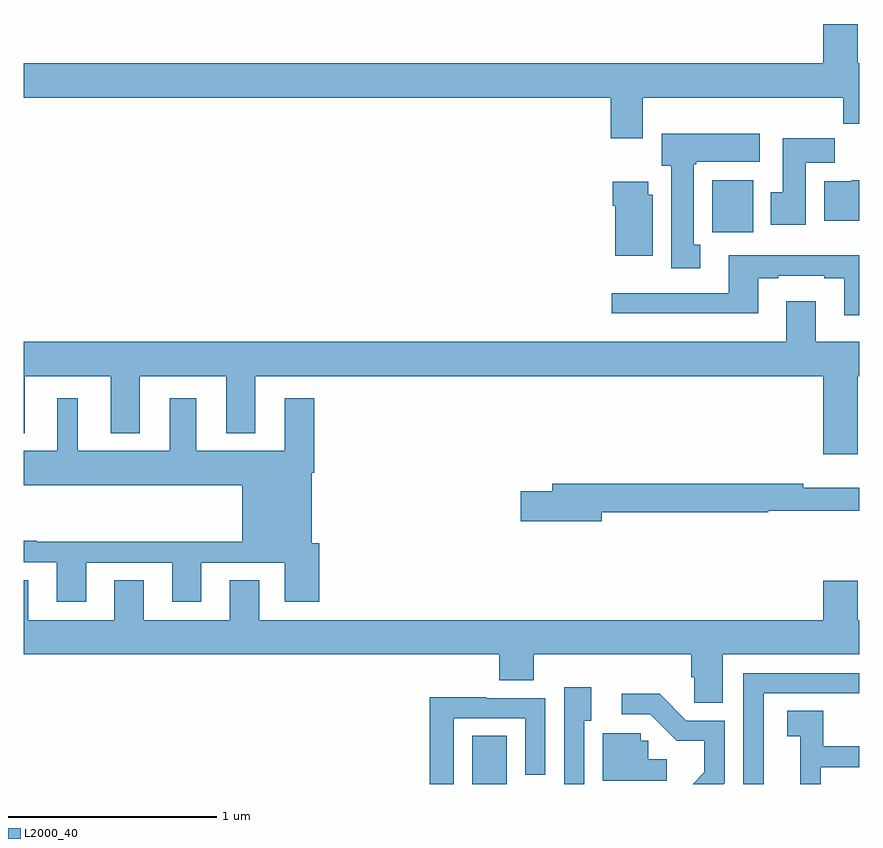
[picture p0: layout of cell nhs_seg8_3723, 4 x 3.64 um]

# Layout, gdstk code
import gdstk
lib = gdstk.Library(unit=1e-6, precision=1e-09)
def R(c, l, rs):  # rectangles x0, y0, x1, y1
    for r in rs: c.add(gdstk.rectangle(r[:2], r[2:], *l))
def P(c, l, *ps):  # polygons
    for p in ps: c.add(gdstk.Polygon(p, *l))
L2000_40 = (2000, 40)

nhs_seg8_3723 = lib.new_cell('nhs_seg8_3723')
R(nhs_seg8_3723, L2000_40, [(343.148,1095.9,343.312,1096.13), (344.295,1098.54,344.491,1098.79)])
P(nhs_seg8_3723, L2000_40, [(344.828,1099.537),(344.828,1099.348),(341,1099.348),(341,1099.184),(343.811,1099.184),(343.811,1098.99),(343.963,1098.99),(343.963,1099.184),(344.923,1099.184),(344.923,1099.06),(345,1099.06),(345,1099.348),(344.992,1099.348),(344.992,1099.537)],
  [(344.239,1098.481),(344.206,1098.481),(344.206,1098.865),(344.22,1098.865),(344.22,1098.878),(344.524,1098.878),(344.524,1099.012),(344.054,1099.012),(344.054,1098.858),(344.099,1098.858),(344.099,1098.369),(344.239,1098.369)],
  [(344.743,1098.872),(344.882,1098.872),(344.882,1098.991),(344.633,1098.991),(344.633,1098.732),(344.576,1098.732),(344.576,1098.576),(344.743,1098.576)],
  [(345,1098.79),(344.964,1098.79),(344.964,1098.784),(344.831,1098.784),(344.831,1098.596),(345,1098.596)],
  [(344.011,1098.72),(343.99,1098.72),(343.99,1098.781),(343.82,1098.781),(343.82,1098.668),(343.832,1098.668),(343.832,1098.428),(344.011,1098.428)],
  [(345,1098.43),(344.375,1098.43),(344.375,1098.249),(343.815,1098.249),(343.815,1098.152),(344.515,1098.152),(344.515,1098.321),(344.611,1098.321),(344.611,1098.333),(344.831,1098.333),(344.831,1098.321),(344.927,1098.321),(344.927,1098.144),(345,1098.144)],
  [(344.992,1097.852),(345,1097.852),(345,1098.016),(344.791,1098.016),(344.791,1098.211),(344.651,1098.211),(344.651,1098.016),(341,1098.016),(341,1097.579),(341.005,1097.579),(341.005,1097.852),(341.417,1097.852),(341.417,1097.579),(341.557,1097.579),(341.557,1097.852),(341.969,1097.852),(341.969,1097.579),(342.109,1097.579),(342.109,1097.852),(344.828,1097.852),(344.828,1097.478),(344.992,1097.478)],
  [(341.299,1096.959),(341.711,1096.959),(341.711,1096.773),(341.851,1096.773),(341.851,1096.959),(342.251,1096.959),(342.251,1096.773),(342.416,1096.773),(342.416,1097.052),(342.379,1097.052),(342.379,1097.39),(342.392,1097.39),(342.392,1097.746),(342.251,1097.746),(342.251,1097.494),(341.827,1097.494),(341.827,1097.746),(341.699,1097.746),(341.699,1097.494),(341.26,1097.494),(341.26,1097.746),(341.162,1097.746),(341.162,1097.494),(341,1097.494),(341,1097.33),(342.047,1097.33),(342.047,1097.06),(341.063,1097.06),(341.063,1097.063),(341,1097.063),(341,1096.962),(341.159,1096.962),(341.159,1096.773),(341.299,1096.773)],
  [(343.768,1097.2),(344.564,1097.2),(344.564,1097.208),(345,1097.208),(345,1097.317),(344.732,1097.317),(344.732,1097.336),(343.529,1097.336),(343.529,1097.3),(343.38,1097.3),(343.38,1097.158),(343.768,1097.158)],
  [(344.347,1096.52),(345,1096.52),(345,1096.684),(344.992,1096.684),(344.992,1096.873),(344.828,1096.873),(344.828,1096.684),(342.127,1096.684),(342.127,1096.874),(341.987,1096.874),(341.987,1096.684),(341.575,1096.684),(341.575,1096.874),(341.435,1096.874),(341.435,1096.684),(341.023,1096.684),(341.023,1096.874),(341,1096.874),(341,1096.52),(343.277,1096.52),(343.277,1096.396),(343.442,1096.396),(343.442,1096.52),(344.195,1096.52),(344.195,1096.41),(344.209,1096.41),(344.209,1096.288),(344.347,1096.288)],
  [(344.542,1096.335),(345,1096.335),(345,1096.431),(344.445,1096.431),(344.445,1095.9),(344.542,1095.9)],
  [(343.683,1096.202),(343.717,1096.202),(343.717,1096.363),(343.587,1096.363),(343.587,1095.9),(343.683,1095.9)],
  [(344.355,1095.905),(344.355,1096.203),(344.172,1096.203),(344.044,1096.331),(343.863,1096.331),(343.863,1096.233),(343.998,1096.233),(344.125,1096.106),(344.258,1096.106),(344.258,1095.956),(344.202,1095.9),(344.35,1095.9)],
  [(343.059,1096.215),(343.401,1096.215),(343.401,1095.945),(343.497,1095.945),(343.497,1096.311),(343.213,1096.311),(343.213,1096.315),(342.943,1096.315),(342.943,1095.9),(343.059,1095.9)],
  [(344.814,1095.981),(345,1095.981),(345,1096.08),(344.827,1096.08),(344.827,1096.25),(344.655,1096.25),(344.655,1096.129),(344.718,1096.129),(344.718,1095.9),(344.814,1095.9)],
  [(344.077,1096.018),(343.989,1096.018),(343.989,1096.107),(343.953,1096.107),(343.953,1096.143),(343.772,1096.143),(343.772,1095.915),(344.077,1095.915)])

lib.write_gds('nhs_seg8_3723.gds')
